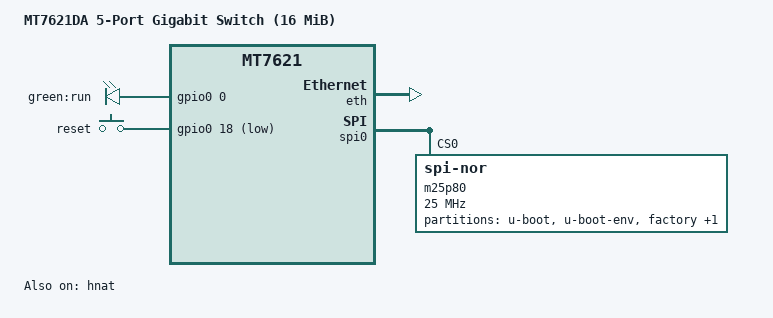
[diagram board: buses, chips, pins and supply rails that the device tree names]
/dts-v1/;

#include "mt7621.dtsi"
#include <dt-bindings/input/input.h>

/ {
	compatible = "mediatek,mt7621da-5port-16m", "mediatek,mt7621da-5port", "mediatek,mt7621-rfb-nor", "mediatek,mt7621-soc";
	model = "MT7621DA 5-Port Gigabit Switch (16 MiB)";

	chosen {
		bootargs = "console=ttyS0,57600";
	};

	gpio-leds {
		compatible = "gpio-leds";

		run {
			label = "green:run";
			gpios = <&gpio0 0 0>;
			default-state = "on";
		};
	};

	gpio-keys-polled {
		compatible = "gpio-keys-polled";
		poll-interval = <20>;

		reset {
			label = "reset";
			gpios = <&gpio0 18 1>;
			linux,code = <KEY_RESTART>;
		};
	};
};

&eth {
	status = "okay";

	gmac0: mac@0 {
		compatible = "mediatek,eth-mac";
		reg = <0>;
		phy-mode = "trgmii";
		mtd-mac-address = <&factory 0xe000>;
		fixed-link {
			speed = <1000>;
			full-duplex;
			pause;
		};
	};

	mdio: mdio-bus {
		#address-cells = <1>;
		#size-cells = <0>;
	};
};

&gsw {
	mediatek,mdio = <&mdio>;
	/* PHY ports 0..3: LAN; PHY port 4 (schematic PJ1): WAN. */
	mediatek,portmap = "llllw";
	mediatek,mcm;
	mt7530,direct-phy-access;

	resets = <&rstctrl 2>;
	reset-names = "mcm";

	port6: port@6 {
		compatible = "mediatek,mt753x-port";
		reg = <6>;
		phy-mode = "trgmii";
		fixed-link {
			speed = <1000>;
			full-duplex;
		};
	};

	mdio-bus {
		#address-cells = <1>;
		#size-cells = <0>;
	};
};

&pinctrl {
	state_default: pinctrl0 {
		gpio {
			mtk,group = "i2c", "uart2", "uart3", "wdt";
			mtk,function = "gpio";
		};
	};
};

&spi0 {
	status = "okay";

	m25p80@0 {
		#address-cells = <1>;
		#size-cells = <1>;
		compatible = "jedec,spi-nor";
		reg = <0>;
		spi-max-frequency = <25000000>;

		partition@0 {
			label = "u-boot";
			reg = <0x00000 0x30000>;
			read-only;
		};

		partition@30000 {
			label = "u-boot-env";
			reg = <0x30000 0x10000>;
		};

		factory: partition@40000 {
			label = "factory";
			reg = <0x40000 0x10000>;
			read-only;
		};

		partition@50000 {
			label = "firmware";
			reg = <0x50000 0xfb0000>;
		};
	};
};

&pcie {
	status = "disabled";
};

&xhci {
	status = "disabled";
};

&u3phy1 {
	status = "disabled";
};

&sdhci {
	status = "disabled";
};


&hnat {
	/* LAN and WAN share GMAC0 through the MT7530 VLANs. */
	mtketh-lan = "br-lan";
	mtketh-wan = "eth0.2";
	mtketh-ppd = "eth0";
	mtketh-max-gmac = <1>;
	status = "okay";
};
